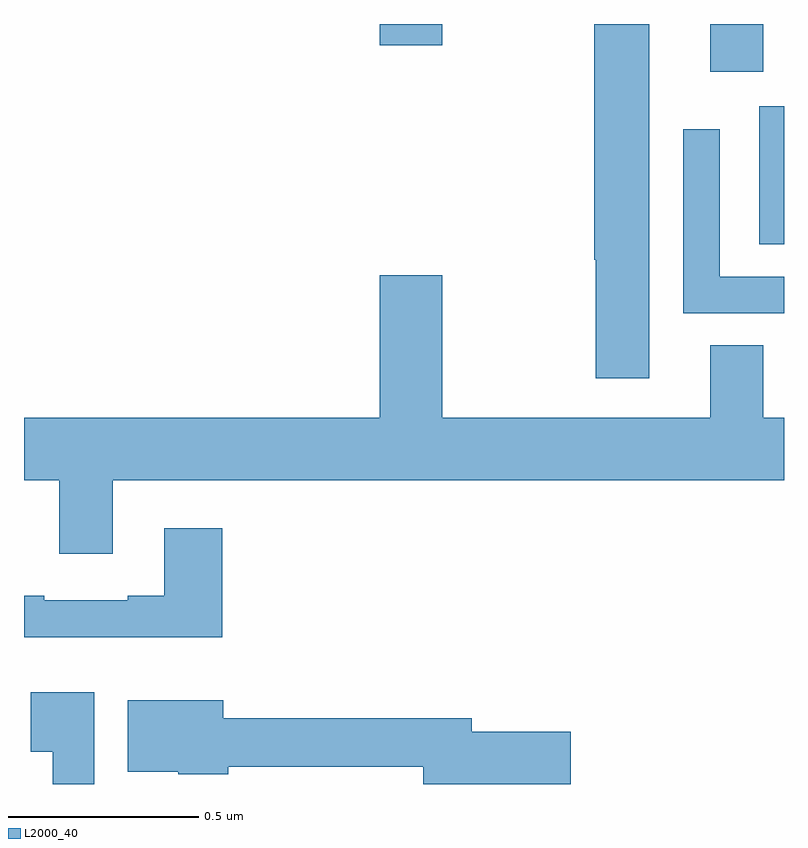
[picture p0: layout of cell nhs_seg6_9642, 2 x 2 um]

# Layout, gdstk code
import gdstk
lib = gdstk.Library(unit=1e-6, precision=1e-09)
def R(c, l, rs):  # rectangles x0, y0, x1, y1
    for r in rs: c.add(gdstk.rectangle(r[:2], r[2:], *l))
def P(c, l, *ps):  # polygons
    for p in ps: c.add(gdstk.Polygon(p, *l))
L2000_40 = (2000, 40)

nhs_seg6_9642 = lib.new_cell('nhs_seg6_9642')
R(nhs_seg6_9642, L2000_40, [(237.935,983.92,238,984.283), (237.806,984.375,237.946,984.5), (236.936,984.444,237.1,984.5)])
P(nhs_seg6_9642, L2000_40, [(237.646,984.5),(237.5,984.5),(237.5,983.88),(237.505,983.88),(237.505,983.568),(237.646,983.568)],
  [(238,983.835),(237.831,983.835),(237.831,984.223),(237.735,984.223),(237.735,983.739),(238,983.739)],
  [(236.233,983.3),(238,983.3),(238,983.464),(237.946,983.464),(237.946,983.654),(237.806,983.654),(237.806,983.464),(237.1,983.464),(237.1,983.839),(236.936,983.839),(236.936,983.464),(236,983.464),(236,983.3),(236.093,983.3),(236.093,983.106),(236.233,983.106)],
  [(236.522,983.173),(236.369,983.173),(236.369,982.996),(236.273,982.996),(236.273,982.983),(236.053,982.983),(236.053,982.996),(236,982.996),(236,982.886),(236.522,982.886)],
  [(236.185,982.741),(236.018,982.741),(236.018,982.585),(236.075,982.585),(236.075,982.5),(236.185,982.5)],
  [(237.439,982.637),(237.178,982.637),(237.178,982.673),(236.524,982.673),(236.524,982.72),(236.273,982.72),(236.273,982.532),(236.406,982.532),(236.406,982.526),(236.537,982.526),(236.537,982.545),(237.05,982.545),(237.05,982.5),(237.439,982.5)])

lib.write_gds('nhs_seg6_9642.gds')
